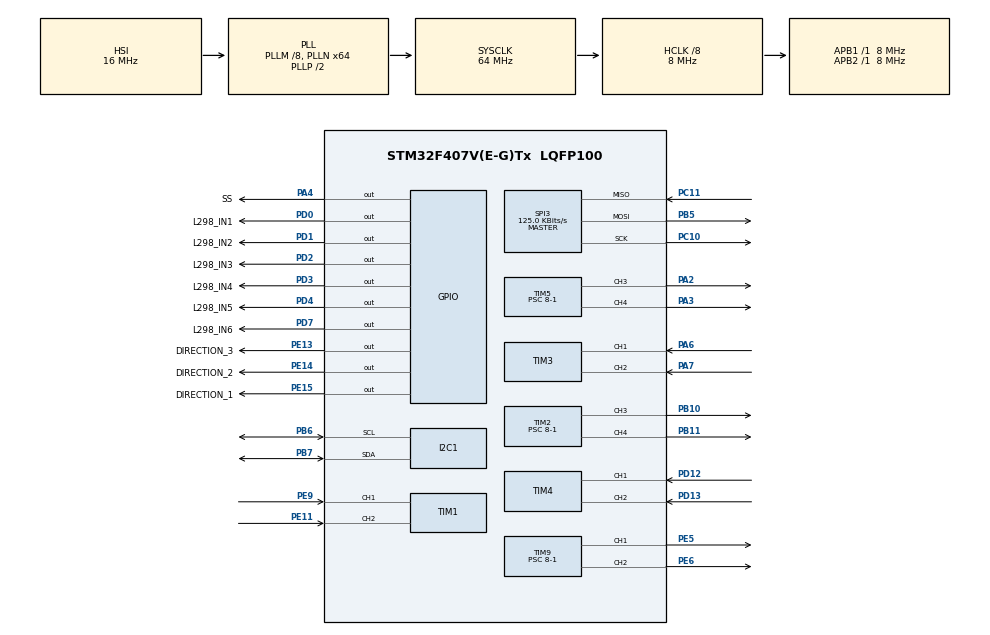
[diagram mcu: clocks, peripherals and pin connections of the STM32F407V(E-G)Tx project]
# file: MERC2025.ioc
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FREERTOS.Tasks01=CONTROL,8,128,StartControl,Default,NULL,Dynamic,NULL,NULL;PID,24,128,StartPID,Default,NULL,Dynamic,NULL,NULL
I2C1.I2C_Mode=I2C_Fast
Mcu.Family=STM32F4
Mcu.Name=STM32F407V(E-G)Tx
Mcu.Package=LQFP100
NVIC.PriorityGroup=NVIC_PRIORITYGROUP_4
NVIC.TIM1_UP_TIM10_IRQn=true\:15\:0\:false\:false\:true\:false\:false\:true\:true
NVIC.TimeBase=TIM1_UP_TIM10_IRQn
NVIC.TimeBaseIP=TIM10
PA13.Mode=Serial_Wire
PA13.Signal=SYS_JTMS-SWDIO
PA14.Mode=Serial_Wire
PA14.Signal=SYS_JTCK-SWCLK
PA2.Signal=S_TIM5_CH3
PA3.Signal=S_TIM5_CH4
PA4.GPIO_Label=SS
PA4.PinState=GPIO_PIN_RESET
PA4.Signal=GPIO_Output
PA6.Signal=S_TIM3_CH1
PA7.Signal=S_TIM3_CH2
PB10.Signal=S_TIM2_CH3
PB11.Signal=S_TIM2_CH4
PB5.Mode=Full_Duplex_Master
PB5.Signal=SPI3_MOSI
PB6.GPIO_Speed=GPIO_SPEED_FREQ_VERY_HIGH
PB6.Mode=I2C
PB6.Signal=I2C1_SCL
PB7.GPIO_Speed=GPIO_SPEED_FREQ_VERY_HIGH
PB7.Mode=I2C
PB7.Signal=I2C1_SDA
PC10.Mode=Full_Duplex_Master
PC10.Signal=SPI3_SCK
PC11.Mode=Full_Duplex_Master
PC11.Signal=SPI3_MISO
PD0.GPIO_Label=L298_IN1
PD0.Signal=GPIO_Output
PD1.GPIO_Label=L298_IN2
PD1.Signal=GPIO_Output
PD12.Signal=S_TIM4_CH1
PD13.Signal=S_TIM4_CH2
PD2.GPIO_Label=L298_IN3
PD2.Signal=GPIO_Output
PD3.GPIO_Label=L298_IN4
PD3.Signal=GPIO_Output
PD4.GPIO_Label=L298_IN5
PD4.Signal=GPIO_Output
PD7.GPIO_Label=L298_IN6
PD7.Signal=GPIO_Output
PE11.Signal=S_TIM1_CH2
PE13.GPIO_Label=DIRECTION_3
PE13.Signal=GPIO_Output
PE14.GPIO_Label=DIRECTION_2
PE14.Signal=GPIO_Output
PE15.GPIO_Label=DIRECTION_1
PE15.Signal=GPIO_Output
PE5.Signal=S_TIM9_CH1
PE6.Signal=S_TIM9_CH2
PE9.Signal=S_TIM1_CH1
PH0-OSC_IN.Mode=HSE-External-Oscillator
PH0-OSC_IN.Signal=RCC_OSC_IN
PH1-OSC_OUT.Mode=HSE-External-Oscillator
PH1-OSC_OUT.Signal=RCC_OSC_OUT
ProjectManager.HeapSize=0x200
ProjectManager.StackSize=0x400
ProjectManager.TargetToolchain=STM32CubeIDE
RCC.48MHZClocksFreq_Value=32000000
RCC.AHBCLKDivider=RCC_SYSCLK_DIV8
RCC.AHBFreq_Value=8000000
RCC.APB1Freq_Value=8000000
RCC.APB1TimFreq_Value=8000000
RCC.APB2Freq_Value=8000000
RCC.APB2TimFreq_Value=8000000
RCC.CortexFreq_Value=8000000
RCC.HCLKFreq_Value=8000000
RCC.HSE_VALUE=25000000
RCC.HSI_VALUE=16000000
RCC.LSE_VALUE=32768
RCC.PLLM=8
RCC.PLLN=64
RCC.SYSCLKFreq_VALUE=64000000
RCC.SYSCLKSource=RCC_SYSCLKSOURCE_PLLCLK
RCC.VCOOutputFreq_Value=128000000
SH.S_TIM1_CH1.0=TIM1_CH1,Encoder_Interface
SH.S_TIM1_CH2.0=TIM1_CH2,Encoder_Interface
SH.S_TIM2_CH3.0=TIM2_CH3,PWM Generation3 CH3
SH.S_TIM2_CH4.0=TIM2_CH4,PWM Generation4 CH4
SH.S_TIM3_CH1.0=TIM3_CH1,Encoder_Interface
SH.S_TIM3_CH2.0=TIM3_CH2,Encoder_Interface
SH.S_TIM4_CH1.0=TIM4_CH1,Encoder_Interface
SH.S_TIM4_CH2.0=TIM4_CH2,Encoder_Interface
SH.S_TIM5_CH3.0=TIM5_CH3,PWM Generation3 CH3
SH.S_TIM5_CH4.0=TIM5_CH4,PWM Generation4 CH4
SH.S_TIM9_CH1.0=TIM9_CH1,PWM Generation1 CH1
SH.S_TIM9_CH2.0=TIM9_CH2,PWM Generation2 CH2
SPI3.BaudRatePrescaler=SPI_BAUDRATEPRESCALER_64
SPI3.CLKPhase=SPI_PHASE_2EDGE
SPI3.CLKPolarity=SPI_POLARITY_HIGH
SPI3.CalculateBaudRate=125.0 KBits/s
SPI3.Direction=SPI_DIRECTION_2LINES
SPI3.FirstBit=SPI_FIRSTBIT_LSB
SPI3.Mode=SPI_MODE_MASTER
SPI3.VirtualNSS=VM_NSSHARD
SPI3.VirtualType=VM_MASTER
TIM1.EncoderMode=TIM_ENCODERMODE_TI12
TIM2.Channel-PWM\ Generation3\ CH3=TIM_CHANNEL_3
TIM2.Channel-PWM\ Generation4\ CH4=TIM_CHANNEL_4
TIM2.Period=100-1
TIM2.Prescaler=8-1
TIM3.EncoderMode=TIM_ENCODERMODE_TI12
TIM4.EncoderMode=TIM_ENCODERMODE_TI12
TIM5.Channel-PWM\ Generation3\ CH3=TIM_CHANNEL_3
TIM5.Channel-PWM\ Generation4\ CH4=TIM_CHANNEL_4
TIM5.Period=100-1
TIM5.Prescaler=8-1
TIM9.Channel-PWM\ Generation1\ CH1=TIM_CHANNEL_1
TIM9.Channel-PWM\ Generation2\ CH2=TIM_CHANNEL_2
TIM9.Period=100-1
TIM9.Prescaler=8-1
VP_FREERTOS_VS_CMSIS_V2.Mode=CMSIS_V2
VP_SYS_VS_tim10.Mode=TIM10
VP_TIM2_VS_ClockSourceINT.Mode=Internal
VP_TIM5_VS_ClockSourceINT.Mode=Internal
VP_TIM9_VS_ClockSourceINT.Mode=Internal
board=custom

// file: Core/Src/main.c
/* USER CODE BEGIN Header */
/**
  ******************************************************************************
  * @file           : main.c
  * @brief          : Main program body
  ******************************************************************************
  * @attention
  *
  * Copyright (c) 2024 STMicroelectronics.
  * All rights reserved.
  *
  * This software is licensed under terms that can be found in the LICENSE file
  * in the root directory of this software component.
  * If no LICENSE file comes with this software, it is provided AS-IS.
  *
  ******************************************************************************
  */
/* USER CODE END Header */
#include "main.h"
#include "cmsis_os.h"

I2C_HandleTypeDef hi2c1;

SPI_HandleTypeDef hspi3;

TIM_HandleTypeDef htim1;
TIM_HandleTypeDef htim2;
TIM_HandleTypeDef htim3;
TIM_HandleTypeDef htim4;
TIM_HandleTypeDef htim5;
TIM_HandleTypeDef htim9;

/* Definitions for CONTROL */
osThreadId_t CONTROLHandle;
const osThreadAttr_t CONTROL_attributes = {
  .name = "CONTROL",
  .stack_size = 128 * 4,
  .priority = (osPriority_t) osPriorityLow,
};
/* Definitions for PID */
osThreadId_t PIDHandle;
const osThreadAttr_t PID_attributes = {
  .name = "PID",
  .stack_size = 128 * 4,
  .priority = (osPriority_t) osPriorityNormal,
};

void SystemClock_Config(void);
static void MX_GPIO_Init(void);
static void MX_TIM1_Init(void);
static void MX_TIM3_Init(void);
static void MX_TIM4_Init(void);
static void MX_TIM5_Init(void);
static void MX_TIM9_Init(void);
static void MX_I2C1_Init(void);
static void MX_SPI3_Init(void);
static void MX_TIM2_Init(void);
void StartControl(void *argument);
void StartPID(void *argument);

/* USER CODE BEGIN 0 */
PID_Param_t pid;
double out_1, out_2, out_3=0;
double rpm_1, rpm_2, rpm_3=0;

double Vd=0;
double Theta=0;

uint8_t select_hand=5;
uint8_t flag_V_slow=false;
uint8_t rx_data;

void pid_config(void){
	pid.Kp=0.3;
	pid.Ki=0.2;
	pid.Kd=0.005;
	pid.target_val_1=V1;
	pid.target_val_2=V2;
	pid.target_val_3=V3;
	PID_init(&pid);
}

/**---UART6 Interrupt--*/
//void HAL_UART_RxCpltCallback(UART_HandleTypeDef *huart){
//	if(huart->Instance == USART3){
//		HAL_UART_Receive_IT(&huart3, &rx_data, 1);
//	}
//}
//#ifdef __GNUC__
//#define PUTCHAR_PROTOTYPE int __io_putchar(int ch)
//#else
//#define PUTCHAR_PROTOTYPE int fputc(int ch, FILE *f)
//#endif
//
//PUTCHAR_PROTOTYPE
//{
//  HAL_UART_Transmit(&huart2, (uint8_t *)&ch, 1, HAL_MAX_DELAY);
//  return ch;
//}
/* USER CODE END 0 */

int main(void)
{

  /* MCU Configuration--------------------------------------------------------*/

  /* Reset of all peripherals, Initializes the Flash interface and the Systick. */
  HAL_Init();

  /* Configure the system clock */
  SystemClock_Config();

  /* Initialize all configured peripherals */
  MX_GPIO_Init();
  MX_TIM1_Init();
  MX_TIM3_Init();
  MX_TIM4_Init();
  MX_TIM5_Init();
  MX_TIM9_Init();
  MX_I2C1_Init();
  MX_SPI3_Init();
  MX_TIM2_Init();
  /* USER CODE BEGIN 2 */
  PCA9685_Init(&hi2c1);

  	__HAL_TIM_SetCompare(&htim5, TIM_CHANNEL_3, 100); //motor 1
  	__HAL_TIM_SetCompare(&htim5, TIM_CHANNEL_4, 100); //motor 2
  	__HAL_TIM_SetCompare(&htim9, TIM_CHANNEL_1, 100); //motor 3

	__HAL_TIM_SetCompare(&htim2, TIM_CHANNEL_3, 100);
	__HAL_TIM_SetCompare(&htim2, TIM_CHANNEL_4, 100);
	__HAL_TIM_SetCompare(&htim9, TIM_CHANNEL_2, 100);

//  	HAL_GPIO_WritePin(DIRECTION_1_GPIO_Port, DIRECTION_1_Pin, GPIO_PIN_SET);
//  	HAL_GPIO_WritePin(DIRECTION_2_GPIO_Port, DIRECTION_2_Pin, GPIO_PIN_SET);
//  	HAL_GPIO_WritePin(DIRECTION_3_GPIO_Port, DIRECTION_3_Pin, GPIO_PIN_SET);

    HAL_TIM_PWM_Start(&htim5, TIM_CHANNEL_3);
    HAL_TIM_PWM_Start(&htim5, TIM_CHANNEL_4);
    HAL_TIM_PWM_Start(&htim9, TIM_CHANNEL_1);

    HAL_TIM_PWM_Start(&htim2, TIM_CHANNEL_3);
    HAL_TIM_PWM_Start(&htim2, TIM_CHANNEL_4);
    HAL_TIM_PWM_Start(&htim9, TIM_CHANNEL_2);

    HAL_TIM_Encoder_Start(&htim1, TIM_CHANNEL_1 | TIM_CHANNEL_2);
    HAL_TIM_Encoder_Start(&htim3, TIM_CHANNEL_1 | TIM_CHANNEL_2);
    HAL_TIM_Encoder_Start(&htim4, TIM_CHANNEL_1 | TIM_CHANNEL_2);

//    UARTStdioConfig(USART2,true);

//    __HAL_UART_ENABLE_IT(&huart5, UART_IT_RXNE);

  /* USER CODE END 2 */

  /* Init scheduler */
  osKernelInitialize();

  /* Create the thread(s) */
  /* creation of CONTROL */
  CONTROLHandle = osThreadNew(StartControl, NULL, &CONTROL_attributes);

  /* creation of PID */
  PIDHandle = osThreadNew(StartPID, NULL, &PID_attributes);

  /* Start scheduler */
  osKernelStart();

  /* We should never get here as control is now taken by the scheduler */
  /* Infinite loop */
  while (1)
  {

  }
}

void SystemClock_Config(void)
{
  RCC_OscInitTypeDef RCC_OscInitStruct = {0};
  RCC_ClkInitTypeDef RCC_ClkInitStruct = {0};

  /** Configure the main internal regulator output voltage
  */
  __HAL_RCC_PWR_CLK_ENABLE();
  __HAL_PWR_VOLTAGESCALING_CONFIG(PWR_REGULATOR_VOLTAGE_SCALE1);

  /** Initializes the RCC Oscillators according to the specified parameters
  * in the RCC_OscInitTypeDef structure.
  */
  RCC_OscInitStruct.OscillatorType = RCC_OSCILLATORTYPE_HSI;
  RCC_OscInitStruct.HSIState = RCC_HSI_ON;
  RCC_OscInitStruct.HSICalibrationValue = RCC_HSICALIBRATION_DEFAULT;
  RCC_OscInitStruct.PLL.PLLState = RCC_PLL_ON;
  RCC_OscInitStruct.PLL.PLLSource = RCC_PLLSOURCE_HSI;
  RCC_OscInitStruct.PLL.PLLM = 8;
  RCC_OscInitStruct.PLL.PLLN = 64;
  RCC_OscInitStruct.PLL.PLLP = RCC_PLLP_DIV2;
  RCC_OscInitStruct.PLL.PLLQ = 4;
  if (HAL_RCC_OscConfig(&RCC_OscInitStruct) != HAL_OK)
  {
    Error_Handler();
  }

  /** Initializes the CPU, AHB and APB buses clocks
  */
  RCC_ClkInitStruct.ClockType = RCC_CLOCKTYPE_HCLK|RCC_CLOCKTYPE_SYSCLK
                              |RCC_CLOCKTYPE_PCLK1|RCC_CLOCKTYPE_PCLK2;
  RCC_ClkInitStruct.SYSCLKSource = RCC_SYSCLKSOURCE_PLLCLK;
  RCC_ClkInitStruct.AHBCLKDivider = RCC_SYSCLK_DIV8;
  RCC_ClkInitStruct.APB1CLKDivider = RCC_HCLK_DIV1;
  RCC_ClkInitStruct.APB2CLKDivider = RCC_HCLK_DIV1;

  if (HAL_RCC_ClockConfig(&RCC_ClkInitStruct, FLASH_LATENCY_0) != HAL_OK)
  {
    Error_Handler();
  }
}

static void MX_I2C1_Init(void)
{

  hi2c1.Instance = I2C1;
  hi2c1.Init.ClockSpeed = 400000;
  hi2c1.Init.DutyCycle = I2C_DUTYCYCLE_2;
  hi2c1.Init.OwnAddress1 = 0;
  hi2c1.Init.AddressingMode = I2C_ADDRESSINGMODE_7BIT;
  hi2c1.Init.DualAddressMode = I2C_DUALADDRESS_DISABLE;
  hi2c1.Init.OwnAddress2 = 0;
  hi2c1.Init.GeneralCallMode = I2C_GENERALCALL_DISABLE;
  hi2c1.Init.NoStretchMode = I2C_NOSTRETCH_DISABLE;
  if (HAL_I2C_Init(&hi2c1) != HAL_OK)
  {
    Error_Handler();
  }

}

static void MX_SPI3_Init(void)
{

  /* SPI3 parameter configuration*/
  hspi3.Instance = SPI3;
  hspi3.Init.Mode = SPI_MODE_MASTER;
  hspi3.Init.Direction = SPI_DIRECTION_2LINES;
  hspi3.Init.DataSize = SPI_DATASIZE_8BIT;
  hspi3.Init.CLKPolarity = SPI_POLARITY_HIGH;
  hspi3.Init.CLKPhase = SPI_PHASE_2EDGE;
  hspi3.Init.NSS = SPI_NSS_SOFT;
  hspi3.Init.BaudRatePrescaler = SPI_BAUDRATEPRESCALER_64;
  hspi3.Init.FirstBit = SPI_FIRSTBIT_LSB;
  hspi3.Init.TIMode = SPI_TIMODE_DISABLE;
  hspi3.Init.CRCCalculation = SPI_CRCCALCULATION_DISABLE;
  hspi3.Init.CRCPolynomial = 10;
  if (HAL_SPI_Init(&hspi3) != HAL_OK)
  {
    Error_Handler();
  }

}

static void MX_TIM1_Init(void)
{

  TIM_Encoder_InitTypeDef sConfig = {0};
  TIM_MasterConfigTypeDef sMasterConfig = {0};

  htim1.Instance = TIM1;
  htim1.Init.Prescaler = 0;
  htim1.Init.CounterMode = TIM_COUNTERMODE_UP;
  htim1.Init.Period = 65535;
  htim1.Init.ClockDivision = TIM_CLOCKDIVISION_DIV1;
  htim1.Init.RepetitionCounter = 0;
  htim1.Init.AutoReloadPreload = TIM_AUTORELOAD_PRELOAD_DISABLE;
  sConfig.EncoderMode = TIM_ENCODERMODE_TI12;
  sConfig.IC1Polarity = TIM_ICPOLARITY_RISING;
  sConfig.IC1Selection = TIM_ICSELECTION_DIRECTTI;
  sConfig.IC1Prescaler = TIM_ICPSC_DIV1;
  sConfig.IC1Filter = 0;
  sConfig.IC2Polarity = TIM_ICPOLARITY_RISING;
  sConfig.IC2Selection = TIM_ICSELECTION_DIRECTTI;
  sConfig.IC2Prescaler = TIM_ICPSC_DIV1;
  sConfig.IC2Filter = 0;
  if (HAL_TIM_Encoder_Init(&htim1, &sConfig) != HAL_OK)
  {
    Error_Handler();
  }
  sMasterConfig.MasterOutputTrigger = TIM_TRGO_RESET;
  sMasterConfig.MasterSlaveMode = TIM_MASTERSLAVEMODE_DISABLE;
  if (HAL_TIMEx_MasterConfigSynchronization(&htim1, &sMasterConfig) != HAL_OK)
  {
    Error_Handler();
  }

}

static void MX_TIM2_Init(void)
{

  TIM_ClockConfigTypeDef sClockSourceConfig = {0};
  TIM_MasterConfigTypeDef sMasterConfig = {0};
  TIM_OC_InitTypeDef sConfigOC = {0};

  htim2.Instance = TIM2;
  htim2.Init.Prescaler = 8-1;
  htim2.Init.CounterMode = TIM_COUNTERMODE_UP;
  htim2.Init.Period = 100-1;
  htim2.Init.ClockDivision = TIM_CLOCKDIVISION_DIV1;
  htim2.Init.AutoReloadPreload = TIM_AUTORELOAD_PRELOAD_DISABLE;
  if (HAL_TIM_Base_Init(&htim2) != HAL_OK)
  {
    Error_Handler();
  }
  sClockSourceConfig.ClockSource = TIM_CLOCKSOURCE_INTERNAL;
  if (HAL_TIM_ConfigClockSource(&htim2, &sClockSourceConfig) != HAL_OK)
  {
    Error_Handler();
  }
  if (HAL_TIM_PWM_Init(&htim2) != HAL_OK)
  {
    Error_Handler();
  }
  sMasterConfig.MasterOutputTrigger = TIM_TRGO_RESET;
  sMasterConfig.MasterSlaveMode = TIM_MASTERSLAVEMODE_DISABLE;
  if (HAL_TIMEx_MasterConfigSynchronization(&htim2, &sMasterConfig) != HAL_OK)
  {
    Error_Handler();
  }
  sConfigOC.OCMode = TIM_OCMODE_PWM1;
  sConfigOC.Pulse = 0;
  sConfigOC.OCPolarity = TIM_OCPOLARITY_HIGH;
  sConfigOC.OCFastMode = TIM_OCFAST_DISABLE;
  if (HAL_TIM_PWM_ConfigChannel(&htim2, &sConfigOC, TIM_CHANNEL_3) != HAL_OK)
  {
    Error_Handler();
  }
  if (HAL_TIM_PWM_ConfigChannel(&htim2, &sConfigOC, TIM_CHANNEL_4) != HAL_OK)
  {
    Error_Handler();
  }
  HAL_TIM_MspPostInit(&htim2);

}

static void MX_TIM3_Init(void)
{

  TIM_Encoder_InitTypeDef sConfig = {0};
  TIM_MasterConfigTypeDef sMasterConfig = {0};

  htim3.Instance = TIM3;
  htim3.Init.Prescaler = 0;
  htim3.Init.CounterMode = TIM_COUNTERMODE_UP;
  htim3.Init.Period = 65535;
  htim3.Init.ClockDivision = TIM_CLOCKDIVISION_DIV1;
  htim3.Init.AutoReloadPreload = TIM_AUTORELOAD_PRELOAD_DISABLE;
  sConfig.EncoderMode = TIM_ENCODERMODE_TI12;
  sConfig.IC1Polarity = TIM_ICPOLARITY_RISING;
  sConfig.IC1Selection = TIM_ICSELECTION_DIRECTTI;
  sConfig.IC1Prescaler = TIM_ICPSC_DIV1;
  sConfig.IC1Filter = 0;
  sConfig.IC2Polarity = TIM_ICPOLARITY_RISING;
  sConfig.IC2Selection = TIM_ICSELECTION_DIRECTTI;
  sConfig.IC2Prescaler = TIM_ICPSC_DIV1;
  sConfig.IC2Filter = 0;
  if (HAL_TIM_Encoder_Init(&htim3, &sConfig) != HAL_OK)
  {
    Error_Handler();
  }
  sMasterConfig.MasterOutputTrigger = TIM_TRGO_RESET;
  sMasterConfig.MasterSlaveMode = TIM_MASTERSLAVEMODE_DISABLE;
  if (HAL_TIMEx_MasterConfigSynchronization(&htim3, &sMasterConfig) != HAL_OK)
  {
    Error_Handler();
  }

}

static void MX_TIM4_Init(void)
{

  TIM_Encoder_InitTypeDef sConfig = {0};
  TIM_MasterConfigTypeDef sMasterConfig = {0};

  htim4.Instance = TIM4;
  htim4.Init.Prescaler = 0;
  htim4.Init.CounterMode = TIM_COUNTERMODE_UP;
  htim4.Init.Period = 65535;
  htim4.Init.ClockDivision = TIM_CLOCKDIVISION_DIV1;
  htim4.Init.AutoReloadPreload = TIM_AUTORELOAD_PRELOAD_DISABLE;
  sConfig.EncoderMode = TIM_ENCODERMODE_TI12;
  sConfig.IC1Polarity = TIM_ICPOLARITY_RISING;
  sConfig.IC1Selection = TIM_ICSELECTION_DIRECTTI;
  sConfig.IC1Prescaler = TIM_ICPSC_DIV1;
  sConfig.IC1Filter = 0;
  sConfig.IC2Polarity = TIM_ICPOLARITY_RISING;
  sConfig.IC2Selection = TIM_ICSELECTION_DIRECTTI;
  sConfig.IC2Prescaler = TIM_ICPSC_DIV1;
  sConfig.IC2Filter = 0;
  if (HAL_TIM_Encoder_Init(&htim4, &sConfig) != HAL_OK)
  {
    Error_Handler();
  }
  sMasterConfig.MasterOutputTrigger = TIM_TRGO_RESET;
  sMasterConfig.MasterSlaveMode = TIM_MASTERSLAVEMODE_DISABLE;
  if (HAL_TIMEx_MasterConfigSynchronization(&htim4, &sMasterConfig) != HAL_OK)
  {
    Error_Handler();
  }

}

static void MX_TIM5_Init(void)
{

  TIM_ClockConfigTypeDef sClockSourceConfig = {0};
  TIM_MasterConfigTypeDef sMasterConfig = {0};
  TIM_OC_InitTypeDef sConfigOC = {0};

  htim5.Instance = TIM5;
  htim5.Init.Prescaler = 8-1;
  htim5.Init.CounterMode = TIM_COUNTERMODE_UP;
  htim5.Init.Period = 100-1;
  htim5.Init.ClockDivision = TIM_CLOCKDIVISION_DIV1;
  htim5.Init.AutoReloadPreload = TIM_AUTORELOAD_PRELOAD_DISABLE;
  if (HAL_TIM_Base_Init(&htim5) != HAL_OK)
  {
    Error_Handler();
  }
  sClockSourceConfig.ClockSource = TIM_CLOCKSOURCE_INTERNAL;
  if (HAL_TIM_ConfigClockSource(&htim5, &sClockSourceConfig) != HAL_OK)
  {
    Error_Handler();
  }
  if (HAL_TIM_PWM_Init(&htim5) != HAL_OK)
  {
    Error_Handler();
  }
  sMasterConfig.MasterOutputTrigger = TIM_TRGO_RESET;
  sMasterConfig.MasterSlaveMode = TIM_MASTERSLAVEMODE_DISABLE;
  if (HAL_TIMEx_MasterConfigSynchronization(&htim5, &sMasterConfig) != HAL_OK)
  {
    Error_Handler();
  }
  sConfigOC.OCMode = TIM_OCMODE_PWM1;
  sConfigOC.Pulse = 0;
  sConfigOC.OCPolarity = TIM_OCPOLARITY_HIGH;
  sConfigOC.OCFastMode = TIM_OCFAST_DISABLE;
  if (HAL_TIM_PWM_ConfigChannel(&htim5, &sConfigOC, TIM_CHANNEL_3) != HAL_OK)
  {
    Error_Handler();
  }
  if (HAL_TIM_PWM_ConfigChannel(&htim5, &sConfigOC, TIM_CHANNEL_4) != HAL_OK)
  {
    Error_Handler();
  }
  HAL_TIM_MspPostInit(&htim5);

}

static void MX_TIM9_Init(void)
{

  TIM_ClockConfigTypeDef sClockSourceConfig = {0};
  TIM_OC_InitTypeDef sConfigOC = {0};

  htim9.Instance = TIM9;
  htim9.Init.Prescaler = 8-1;
  htim9.Init.CounterMode = TIM_COUNTERMODE_UP;
  htim9.Init.Period = 100-1;
  htim9.Init.ClockDivision = TIM_CLOCKDIVISION_DIV1;
  htim9.Init.AutoReloadPreload = TIM_AUTORELOAD_PRELOAD_DISABLE;
  if (HAL_TIM_Base_Init(&htim9) != HAL_OK)
  {
    Error_Handler();
  }
  sClockSourceConfig.ClockSource = TIM_CLOCKSOURCE_INTERNAL;
  if (HAL_TIM_ConfigClockSource(&htim9, &sClockSourceConfig) != HAL_OK)
  {
    Error_Handler();
  }
  if (HAL_TIM_PWM_Init(&htim9) != HAL_OK)
  {
    Error_Handler();
  }
  sConfigOC.OCMode = TIM_OCMODE_PWM1;
  sConfigOC.Pulse = 0;
  sConfigOC.OCPolarity = TIM_OCPOLARITY_HIGH;
  sConfigOC.OCFastMode = TIM_OCFAST_DISABLE;
  if (HAL_TIM_PWM_ConfigChannel(&htim9, &sConfigOC, TIM_CHANNEL_1) != HAL_OK)
  {
    Error_Handler();
  }
  if (HAL_TIM_PWM_ConfigChannel(&htim9, &sConfigOC, TIM_CHANNEL_2) != HAL_OK)
  {
    Error_Handler();
  }
  HAL_TIM_MspPostInit(&htim9);

}

static void MX_GPIO_Init(void)
{
  GPIO_InitTypeDef GPIO_InitStruct = {0};

  /* GPIO Ports Clock Enable */
  __HAL_RCC_GPIOE_CLK_ENABLE();
  __HAL_RCC_GPIOH_CLK_ENABLE();
  __HAL_RCC_GPIOA_CLK_ENABLE();
  __HAL_RCC_GPIOB_CLK_ENABLE();
  __HAL_RCC_GPIOD_CLK_ENABLE();
  __HAL_RCC_GPIOC_CLK_ENABLE();

  /*Configure GPIO pin Output Level */
  HAL_GPIO_WritePin(SS_GPIO_Port, SS_Pin, GPIO_PIN_RESET);

  /*Configure GPIO pin Output Level */
  HAL_GPIO_WritePin(GPIOE, DIRECTION_3_Pin|DIRECTION_2_Pin|DIRECTION_1_Pin, GPIO_PIN_RESET);

  /*Configure GPIO pin Output Level */
  HAL_GPIO_WritePin(GPIOD, L298_IN1_Pin|L298_IN2_Pin|L298_IN3_Pin|L298_IN4_Pin
                          |L298_IN5_Pin|L298_IN6_Pin, GPIO_PIN_RESET);

  /*Configure GPIO pin : SS_Pin */
  GPIO_InitStruct.Pin = SS_Pin;
  GPIO_InitStruct.Mode = GPIO_MODE_OUTPUT_PP;
  GPIO_InitStruct.Pull = GPIO_NOPULL;
  GPIO_InitStruct.Speed = GPIO_SPEED_FREQ_LOW;
  HAL_GPIO_Init(SS_GPIO_Port, &GPIO_InitStruct);

  /*Configure GPIO pins : DIRECTION_3_Pin DIRECTION_2_Pin DIRECTION_1_Pin */
  GPIO_InitStruct.Pin = DIRECTION_3_Pin|DIRECTION_2_Pin|DIRECTION_1_Pin;
  GPIO_InitStruct.Mode = GPIO_MODE_OUTPUT_PP;
  GPIO_InitStruct.Pull = GPIO_NOPULL;
  GPIO_InitStruct.Speed = GPIO_SPEED_FREQ_LOW;
  HAL_GPIO_Init(GPIOE, &GPIO_InitStruct);

  /*Configure GPIO pins : L298_IN1_Pin L298_IN2_Pin L298_IN3_Pin L298_IN4_Pin
                           L298_IN5_Pin L298_IN6_Pin */
  GPIO_InitStruct.Pin = L298_IN1_Pin|L298_IN2_Pin|L298_IN3_Pin|L298_IN4_Pin
                          |L298_IN5_Pin|L298_IN6_Pin;
  GPIO_InitStruct.Mode = GPIO_MODE_OUTPUT_PP;
  GPIO_InitStruct.Pull = GPIO_NOPULL;
  GPIO_InitStruct.Speed = GPIO_SPEED_FREQ_LOW;
  HAL_GPIO_Init(GPIOD, &GPIO_InitStruct);

}

/* USER CODE BEGIN 4 */
void Moving(uint8_t PSX_RX, double Vd, double Theta){
	if(flag_V_slow==true) Vd /= 1000.0f;
	else if(flag_V_slow==false) Vd /= 200.0f;
	Robot_Move(Vd, Theta,0);
	switch(PSX_RX){
	case Rotate_180:
		if(select_hand==1) PCA9685_SetServoAngle(0, 360);
		if(select_hand==2) PCA9685_SetServoAngle(6, 360);
		break;
	case Rotate_mn180:
		if(select_hand==1) PCA9685_SetServoAngle(0, 0);
		if(select_hand==2) PCA9685_SetServoAngle(6, 0);
		break;
	case Rotate_Right:
		Robot_Move(0, 0, -0.3);
		break;
	case Rotate_Left:
		Robot_Move(0, 0, 0.3);
		break;
	}
}
void Hand(uint8_t PSX_RX){
	switch(PSX_RX){
	case Select_Hand_1:
		select_hand=1;
		break;
	case Select_Hand_2:
		select_hand=2;
		break;
	case Fast:
		flag_V_slow=false;
		break;
	case Slow:
		flag_V_slow=true;
		break;
	case Lift:
		if(select_hand==1){
			HAL_GPIO_WritePin(L298_IN3_GPIO_Port, L298_IN3_Pin, GPIO_PIN_SET);
			HAL_GPIO_WritePin(L298_IN4_GPIO_Port, L298_IN4_Pin, GPIO_PIN_RESET);
		}
		if(select_hand==2){
			HAL_GPIO_WritePin(L298_IN1_GPIO_Port, L298_IN1_Pin, GPIO_PIN_RESET);
			HAL_GPIO_WritePin(L298_IN2_GPIO_Port, L298_IN2_Pin, GPIO_PIN_SET);
		}
		break;
	case Down:
		if(select_hand==1){
			HAL_GPIO_WritePin(L298_IN3_GPIO_Port, L298_IN3_Pin, GPIO_PIN_RESET);
			HAL_GPIO_WritePin(L298_IN4_GPIO_Port, L298_IN4_Pin, GPIO_PIN_SET);
		}
		if(select_hand==2){
			HAL_GPIO_WritePin(L298_IN1_GPIO_Port, L298_IN1_Pin, GPIO_PIN_SET);
			HAL_GPIO_WritePin(L298_IN2_GPIO_Port, L298_IN2_Pin, GPIO_PIN_RESET);
		}
		break;
	case Open://tay 0
		if(select_hand==1)	PCA9685_SetServoAngle(2, 360);

		if(select_hand==2)	PCA9685_SetServoAngle(4, 360);
		break;
	case Close:
		if(select_hand==1)	PCA9685_SetServoAngle(2, 0);
		if(select_hand==2)	PCA9685_SetServoAngle(4, 0);

		break;
	default:
		HAL_GPIO_WritePin(L298_IN1_GPIO_Port, L298_IN1_Pin, GPIO_PIN_RESET);
		HAL_GPIO_WritePin(L298_IN2_GPIO_Port, L298_IN2_Pin, GPIO_PIN_RESET);
		HAL_GPIO_WritePin(L298_IN3_GPIO_Port, L298_IN3_Pin, GPIO_PIN_RESET);
		HAL_GPIO_WritePin(L298_IN4_GPIO_Port, L298_IN4_Pin, GPIO_PIN_RESET);
		if(select_hand==1){
			PCA9685_SetServoAngle(0, 181);
			PCA9685_SetServoAngle(2, 87);
		}
		if(select_hand==2)	PCA9685_SetServoAngle(6, 180);
		break;
	}

}
void Calculate_angle(double LX, double LY) {

    double angle_rad = atan(LY / LX);
    Theta = angle_rad * (180.0f / PI)-30.0f;
    if(LX < 0)Theta += 180.0f;
    if(LX >= 0 && LY < 0)Theta += 360.0f;
    if(Theta<0) Theta+=360.0f;
}

void Caculate_Vd(uint8_t PSX_RX[]){
	int8_t LX=PSX_RX[7];
	int8_t LY=PSX_RX[8];

	LX=LX-128;
	LY=127-LY;

	Vd=(fabs(LX)>=fabs(LY))?fabs(LX):fabs(LY);
	Calculate_angle((double)LX, (double)LY);
}

/* USER CODE END 4 */

void StartControl(void *argument)
{
  /* USER CODE BEGIN 5 */

  /* Infinite loop */
  for(;;)
  {
	uint8_t PSX_RX[9]= { 0x00 };
	uint8_t PSX_TX[2] = {
		0x01, 0x42
	};
	spi_enable;
	HAL_SPI_TransmitReceive(&hspi3, PSX_TX, PSX_RX, 9, 10);
	spi_disable;
	if(PSX_RX[1]==0x73){
		Caculate_Vd(PSX_RX);
		Hand(PSX_RX[4]);
		Moving(PSX_RX[3],Vd,Theta);
	}

		osDelay(100);

  }
  /* USER CODE END 5 */
}

void StartPID(void *argument)
{
  /* USER CODE BEGIN StartPID */
  /* Infinite loop */
  for(;;)
  {

	PID();
	osDelay(50);
  }
  /* USER CODE END StartPID */
}

void HAL_TIM_PeriodElapsedCallback(TIM_HandleTypeDef *htim)
{
  if (htim->Instance == TIM10) {
    HAL_IncTick();
  }
}

void Error_Handler(void)
{
  __disable_irq();
  while (1)
  {
  }
}
